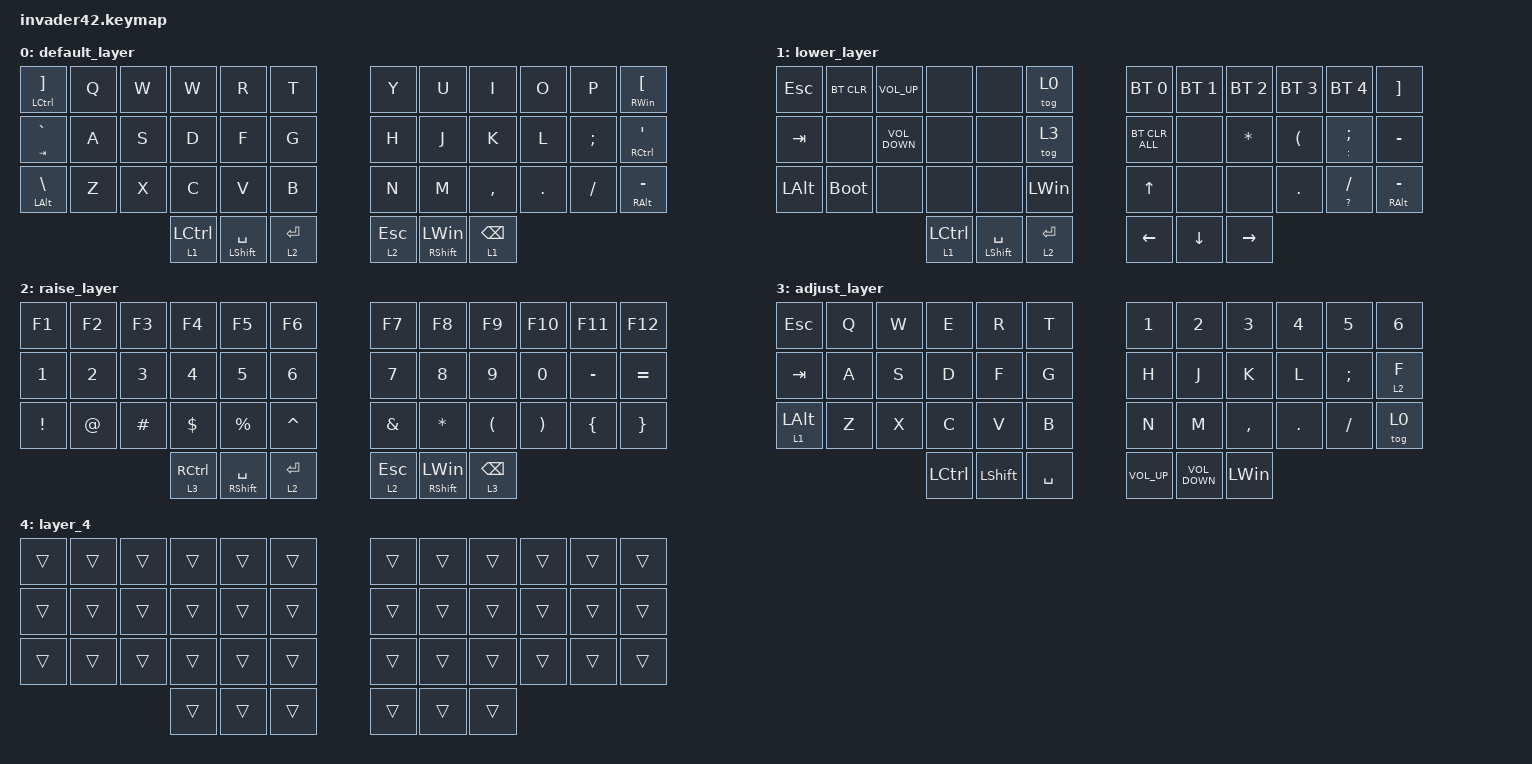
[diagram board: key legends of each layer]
/*
 * Copyright (c) 2020 The ZMK Contributors
 *
 * SPDX-License-Identifier: MIT
 */

#include <behaviors.dtsi>
#include <dt-bindings/zmk/bt.h>
#include <dt-bindings/zmk/keys.h>

#define DEF 0
#define LWR 1
#define RSE 2
#define ADJ 3

&lt { quick_tap_ms = <220>; };

&mt { quick_tap_ms = <220>; };

/ {
    macros {
        numdot: numdot {
            label = "ZM_numdot";
            compatible = "zmk,behavior-macro";
            #binding-cells = <0>;
            wait-ms = <40>;
            tap-ms = <40>;
            bindings =
                <&macro_press>,
                <&kp LALT>,
                <&macro_tap>,
                <&kp KP_N4 &kp KP_N6>,
                <&macro_release>,
                <&kp LALT>;
        };

        grtsgn: grtsgn {
            label = "ZM_grtsgn";
            compatible = "zmk,behavior-macro";
            #binding-cells = <0>;
            wait-ms = <40>;
            tap-ms = <40>;
            bindings =
                <&macro_press>,
                <&kp LALT>,
                <&macro_tap>,
                <&kp KP_N6 &kp KP_N2>,
                <&macro_release>,
                <&kp LALT>;
        };
    };
};

/ {
    combos {
        compatible = "zmk,combos";

        copu {
            bindings = <&kp LC(C)>;
            key-positions = <25 26>;
        };

        paste {
            bindings = <&kp LC(V)>;
            key-positions = <26 27>;
        };

        win {
            bindings = <&kp LEFT_WIN>;
            key-positions = <36 37>;
        };

        eskape {
            bindings = <&kp ESCAPE>;
            key-positions = <0 1>;
        };

        languge {
            bindings = <&kp LS(LEFT_ALT)>;
            key-positions = <24 25 26>;
        };

        del {
            bindings = <&kp DEL>;
            key-positions = <10 11>;
        };
    };

    keymap {
        compatible = "zmk,keymap";

        default_layer {
            bindings = <
&mt LCTRL RIGHT_BRACKET  &kp Q  &kp W  &kp W  &kp R        &kp T                                  &kp Y                     &kp U            &kp I      &kp O    &kp P     &mt RWIN LEFT_BRACKET
&mt TAB GRAVE            &kp A  &kp S  &kp D  &kp F        &kp G                                  &kp H                     &kp J            &kp K      &kp L    &kp SEMI  &mt RCTRL SQT
&mt LALT BSLH            &kp Z  &kp X  &kp C  &kp V        &kp B                                  &kp N                     &kp M            &kp COMMA  &kp DOT  &kp FSLH  &mt RALT MINUS
                                              &lt 1 LCTRL  &mt LSHFT SPACE  &lt 2 RET  &lt 2 ESC  &mt RIGHT_SHIFT LEFT_WIN  &lt 1 BACKSPACE
            >;
        };

        lower_layer {
            bindings = <
&kp ESCAPE  &bt BT_CLR   &kp C_VOLUME_UP    &none  &none        &tog 0                                       &bt BT_SEL 0    &bt BT_SEL 1  &bt BT_SEL 2  &bt BT_SEL 3  &bt BT_SEL 4         &kp RIGHT_BRACKET
&kp TAB     &none        &kp C_VOLUME_DOWN  &none  &none        &tog 3                                       &bt BT_CLR_ALL  &none         &kp STAR      &kp LPAR      &mt COLON SEMICOLON  &kp MINUS
&kp LALT    &bootloader  &none              &none  &none        &kp LEFT_WIN                                 &kp UP          &none         &none         &kp PERIOD    &mt QUESTION SLASH   &mt RALT MINUS
                                                   &lt 1 LCTRL  &mt LEFT_SHIFT SPACE  &lt 2 ENTER  &kp LEFT  &kp DOWN        &kp RIGHT
            >;
        };

        raise_layer {
            bindings = <
&kp F1           &kp F2        &kp F3        &kp F4        &kp F5       &kp F6                                       &kp F7                    &kp F8           &kp F9                &kp F10                &kp F11         &kp F12
&kp NUMBER_1     &kp NUMBER_2  &kp NUMBER_3  &kp NUMBER_4  &kp N5       &kp NUMBER_6                                 &kp N7                    &kp N8           &kp N9                &kp N0                 &kp MINUS       &kp EQUAL
&kp EXCLAMATION  &kp AT_SIGN   &kp HASH      &kp DOLLAR    &kp PERCENT  &kp CARET                                    &kp AMPERSAND             &kp ASTERISK     &kp LEFT_PARENTHESIS  &kp RIGHT_PARENTHESIS  &kp LEFT_BRACE  &kp RIGHT_BRACE
                                                           &lt 3 RCTRL  &mt RIGHT_SHIFT SPACE  &lt 2 RET  &lt 2 ESC  &mt RIGHT_SHIFT LEFT_WIN  &lt 3 BACKSPACE
            >;
        };

        adjust_layer {
            bindings = <
&kp ESC         &kp Q  &kp W  &kp E  &kp R      &kp T                                       &kp NUMBER_1       &kp NUMBER_2  &kp NUMBER_3  &kp NUMBER_4  &kp N5         &kp NUMBER_6
&kp TAB         &kp A  &kp S  &kp D  &kp F      &kp G                                       &kp H              &kp J         &kp K         &kp L         &kp SEMICOLON  &lt 2 F
&lt 1 LEFT_ALT  &kp Z  &kp X  &kp C  &kp V      &kp B                                       &kp N              &kp M         &kp COMMA     &kp PERIOD    &kp SLASH      &tog 0
                                     &kp LCTRL  &kp LEFT_SHIFT  &kp SPACE  &kp C_VOLUME_UP  &kp C_VOLUME_DOWN  &kp LEFT_WIN
            >;
        };

        layer_4 {
            bindings = <
&trans  &trans  &trans  &trans  &trans  &trans                  &trans  &trans  &trans  &trans  &trans  &trans
&trans  &trans  &trans  &trans  &trans  &trans                  &trans  &trans  &trans  &trans  &trans  &trans
&trans  &trans  &trans  &trans  &trans  &trans                  &trans  &trans  &trans  &trans  &trans  &trans
                                &trans  &trans  &trans  &trans  &trans  &trans
            >;
        };
    };
};
